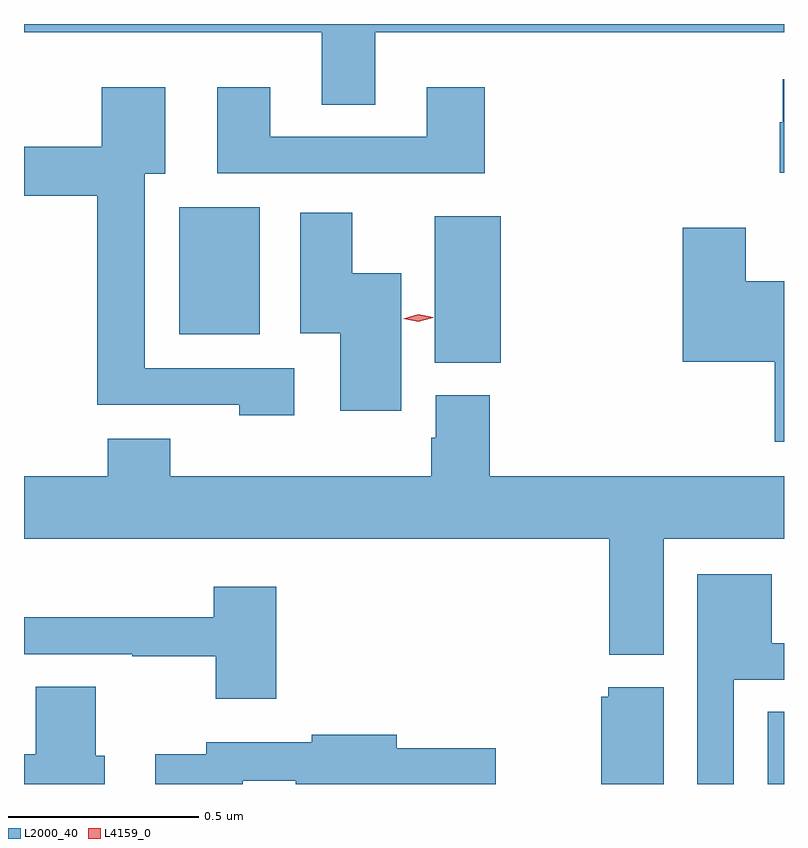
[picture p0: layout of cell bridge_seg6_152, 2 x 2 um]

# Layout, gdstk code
import gdstk
lib = gdstk.Library(unit=1e-6, precision=1e-09)
def R(c, l, rs):  # rectangles x0, y0, x1, y1
    for r in rs: c.add(gdstk.rectangle(r[:2], r[2:], *l))
def P(c, l, *ps):  # polygons
    for p in ps: c.add(gdstk.Polygon(p, *l))
L2000_40 = (2000, 40)
L4159_0 = (4159, 0)

bridge_seg6_152 = lib.new_cell('bridge_seg6_152')
R(bridge_seg6_152, L2000_40, [(606.674,953.35,606.717,953.54), (605.798,954.458,605.971,954.844), (605.126,954.533,605.338,954.868)])
P(bridge_seg6_152, L2000_40, [(605.641,955.328),(606.717,955.328),(606.717,955.35),(604.717,955.35),(604.717,955.328),(605.501,955.328),(605.501,955.138),(605.641,955.138)],
  [(606.717,955.204),(606.714,955.204),(606.714,955.091),(606.706,955.091),(606.706,954.959),(606.717,954.959)],
  [(605.428,954.444),(605.035,954.444),(605.035,954.956),(605.089,954.956),(605.089,955.183),(604.922,955.183),(604.922,955.027),(604.717,955.027),(604.717,954.898),(604.91,954.898),(604.91,954.348),(605.283,954.348),(605.283,954.32),(605.428,954.32)],
  [(605.93,955.183),(605.777,955.183),(605.777,955.053),(605.365,955.053),(605.365,955.183),(605.225,955.183),(605.225,954.957),(605.93,954.957)],
  [(605.71,954.694),(605.581,954.694),(605.581,954.853),(605.444,954.853),(605.444,954.536),(605.549,954.536),(605.549,954.332),(605.71,954.332)],
  [(606.717,954.673),(606.616,954.673),(606.616,954.814),(606.451,954.814),(606.451,954.461),(606.692,954.461),(606.692,954.251),(606.717,954.251)],
  [(606.4,953.996),(606.717,953.996),(606.717,954.16),(605.942,954.16),(605.942,954.373),(605.801,954.373),(605.801,954.261),(605.789,954.261),(605.789,954.16),(605.102,954.16),(605.102,954.259),(604.937,954.259),(604.937,954.16),(604.717,954.16),(604.717,953.996),(606.257,953.996),(606.257,953.69),(606.4,953.69)],
  [(606.585,953.625),(606.717,953.625),(606.717,953.721),(606.685,953.721),(606.685,953.902),(606.489,953.902),(606.489,953.35),(606.585,953.35)],
  [(605.381,953.869),(605.216,953.869),(605.216,953.789),(604.717,953.789),(604.717,953.691),(605.002,953.691),(605.002,953.686),(605.221,953.686),(605.221,953.574),(605.381,953.574)],
  [(604.93,953.424),(604.906,953.424),(604.906,953.606),(604.748,953.606),(604.748,953.428),(604.717,953.428),(604.717,953.35),(604.93,953.35)],
  [(606.4,953.605),(606.255,953.605),(606.255,953.58),(606.236,953.58),(606.236,953.35),(606.4,953.35)],
  [(605.292,953.359),(605.432,953.359),(605.432,953.35),(605.959,953.35),(605.959,953.444),(605.698,953.444),(605.698,953.48),(605.474,953.48),(605.474,953.46),(605.196,953.46),(605.196,953.428),(605.063,953.428),(605.063,953.35),(605.292,953.35)])
P(bridge_seg6_152, L4159_0, [(605.755,954.566),(605.715,954.575),(605.715,954.575),(605.715,954.575),(605.754,954.586),(605.794,954.578),(605.794,954.577),(605.794,954.577)])

lib.write_gds('bridge_seg6_152.gds')
